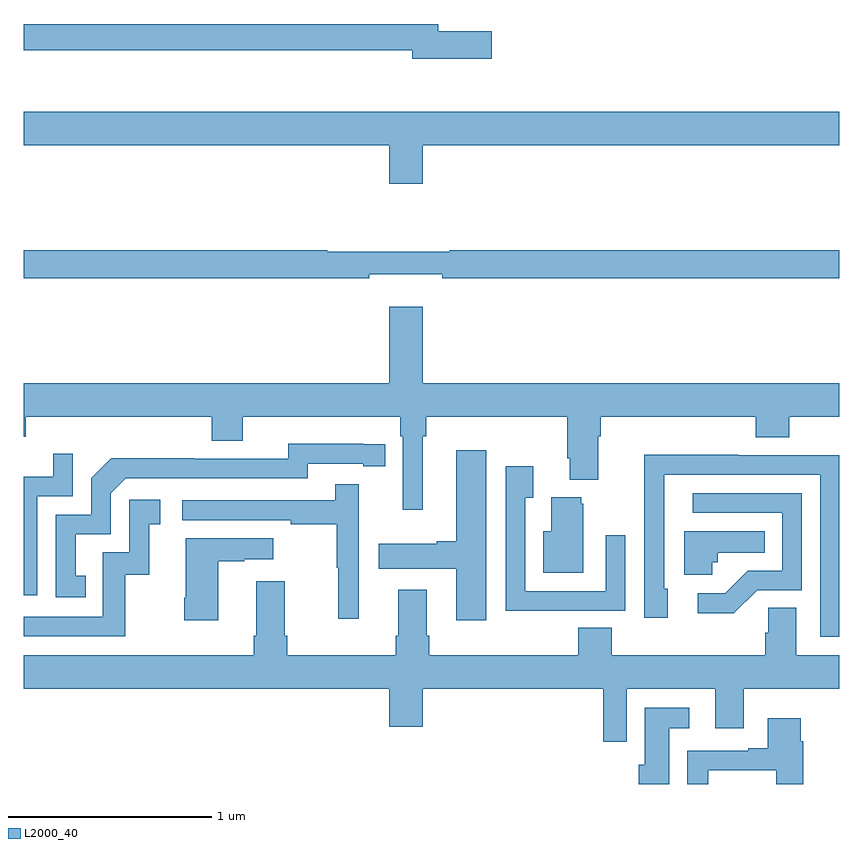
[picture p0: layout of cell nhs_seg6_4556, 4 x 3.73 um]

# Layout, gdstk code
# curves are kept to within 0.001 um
import gdstk
lib = gdstk.Library(unit=1e-6, precision=1e-09)
def P(c, l, *ps):  # polygons
    for p in ps: c.add(gdstk.Polygon(p, *l))
L2000_40 = (2000, 40)

nhs_seg6_4556 = lib.new_cell('nhs_seg6_4556')
P(nhs_seg6_4556, L2000_40, [(381.295,985.19),(381.034,985.19),(381.034,985.226),(379,985.226),(379,985.098),(380.906,985.098),(380.906,985.055),(381.295,985.055)],
  [(380.956,984.632),(383,984.632),(383,984.796),(379,984.796),(379,984.632),(380.792,984.632),(380.792,984.444),(380.956,984.444)],
  [(380.696,983.999),(381.052,983.999),(381.052,983.98),(383,983.98),(383,984.116),(381.089,984.116),(381.089,984.109),(380.489,984.109),(380.489,984.116),(379,984.116),(379,983.98),(380.696,983.98)],
  [(380.956,983.204),(380.975,983.204),(380.975,983.3),(381.665,983.3),(381.665,983.098),(381.677,983.098),(381.677,982.991),(381.817,982.991),(381.817,983.204),(381.83,983.204),(381.83,983.3),(382.589,983.3),(382.589,983.201),(382.754,983.201),(382.754,983.3),(383,983.3),(383,983.464),(380.956,983.464),(380.956,983.839),(380.792,983.839),(380.792,983.464),(379,983.464),(379,983.202),(379.01,983.202),(379.01,983.3),(379.922,983.3),(379.922,983.183),(380.074,983.183),(380.074,983.3),(380.846,983.3),(380.846,983.204),(380.859,983.204),(380.859,982.845),(380.956,982.845)],
  [(379.304,982.521),(379.255,982.521),(379.255,982.725),(379.428,982.725),(379.428,982.926),(379.5,982.998),(380.394,982.998),(380.394,983.07),(380.666,983.07),(380.666,983.058),(380.774,983.058),(380.774,983.166),(380.298,983.167),(380.298,983.094),(379.838,983.094),(379.838,983.096),(379.43,983.096),(379.332,982.998),(379.332,982.821),(379.158,982.821),(379.158,982.416),(379.304,982.416)],
  [(381.268,983.137),(381.122,983.137),(381.122,982.691),(381.026,982.691),(381.026,982.678),(380.742,982.678),(380.742,982.556),(381.122,982.556),(381.122,982.302),(381.268,982.302)],
  [(379.068,982.911),(379.242,982.911),(379.242,983.119),(379.145,983.119),(379.145,983.007),(379,983.007),(379,982.425),(379.068,982.425)],
  [(383,983.112),(382.505,983.112),(382.505,983.114),(382.042,983.114),(382.042,982.807),(382.044,982.807),(382.044,982.314),(382.159,982.314),(382.159,982.458),(382.14,982.458),(382.14,982.801),(382.141,982.801),(382.141,983.016),(382.905,983.016),(382.905,982.221),(383,982.221)],
  [(381.635,982.35),(381.951,982.35),(381.951,982.72),(381.855,982.72),(381.855,982.446),(381.459,982.446),(381.459,982.903),(381.499,982.903),(381.499,983.059),(381.363,983.059),(381.363,982.349),(381.635,982.349)],
  [(380.643,982.969),(380.527,982.969),(380.527,982.89),(379.779,982.89),(379.779,982.794),(380.311,982.794),(380.311,982.774),(380.535,982.774),(380.535,982.56),(380.542,982.56),(380.542,982.311),(380.643,982.311)],
  [(382.596,982.449),(382.815,982.449),(382.815,982.926),(382.281,982.926),(382.281,982.83),(382.719,982.83),(382.719,982.545),(382.55,982.545),(382.439,982.434),(382.305,982.434),(382.305,982.337),(382.483,982.337)],
  [(381.745,982.875),(381.734,982.875),(381.734,982.906),(381.587,982.906),(381.587,982.738),(381.548,982.738),(381.548,982.535),(381.745,982.535)],
  [(379.498,982.527),(379.616,982.527),(379.616,982.773),(379.669,982.773),(379.669,982.894),(379.518,982.894),(379.518,982.635),(379.389,982.635),(379.389,982.32),(379,982.32),(379,982.224),(379.498,982.224)],
  [(382.377,982.587),(382.404,982.587),(382.404,982.634),(382.634,982.634),(382.634,982.738),(382.238,982.738),(382.238,982.526),(382.377,982.526)],
  [(379.954,982.591),(380.081,982.591),(380.081,982.601),(380.224,982.601),(380.224,982.705),(379.796,982.705),(379.796,982.414),(379.789,982.414),(379.789,982.302),(379.954,982.302)],
  [(381.957,981.968),(382.391,981.968),(382.391,981.774),(382.531,981.774),(382.531,981.968),(383,981.968),(383,982.132),(382.789,982.132),(382.789,982.364),(382.65,982.364),(382.65,982.241),(382.637,982.241),(382.637,982.132),(381.884,982.132),(381.884,982.265),(381.719,982.265),(381.719,982.132),(380.99,982.132),(380.99,982.228),(380.977,982.228),(380.977,982.453),(380.837,982.453),(380.837,982.228),(380.825,982.228),(380.825,982.132),(380.294,982.132),(380.294,982.228),(380.281,982.228),(380.281,982.495),(380.141,982.495),(380.141,982.228),(380.129,982.228),(380.129,982.132),(379,982.132),(379,981.968),(380.792,981.968),(380.792,981.78),(380.956,981.78),(380.956,981.968),(381.841,981.968),(381.841,981.708),(381.957,981.708)],
  [(382.165,981.773),(382.264,981.773),(382.264,981.874),(382.046,981.874),(382.046,981.594),(382.016,981.594),(382.016,981.5),(382.165,981.5)],
  [(382.357,981.567),(382.691,981.567),(382.691,981.5),(382.823,981.5),(382.823,981.71),(382.81,981.71),(382.81,981.823),(382.649,981.823),(382.649,981.676),(382.553,981.676),(382.553,981.663),(382.253,981.663),(382.253,981.5),(382.357,981.5)])

lib.write_gds('nhs_seg6_4556.gds')
